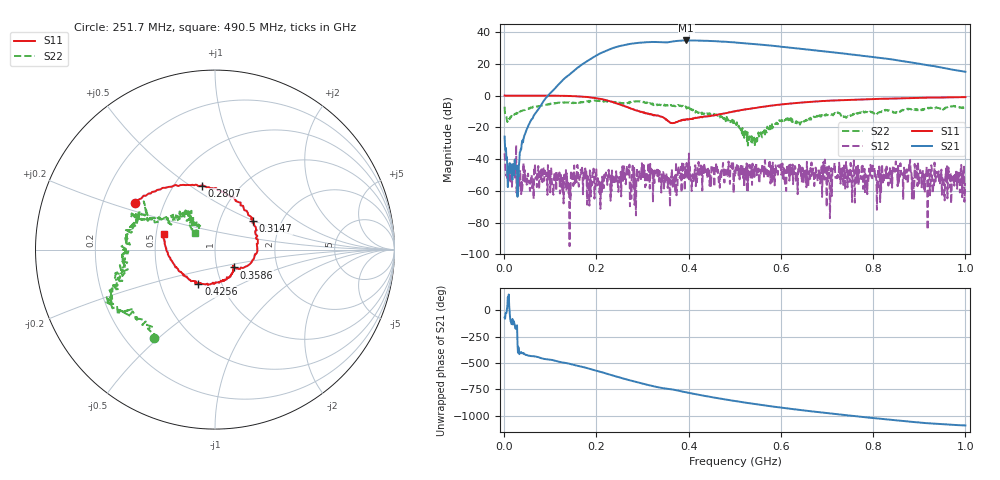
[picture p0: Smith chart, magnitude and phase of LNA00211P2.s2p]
! Created with skrf 1.9.0 (http://scikit-rf.org).
# Hz S RI R 50.0
!freq ReS11 ImS11 ReS21 ImS21 ReS12 ImS12 ReS22 ImS22
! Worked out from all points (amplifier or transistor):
!   1001 points, 1 MHz to 1 GHz, reference 50 ohm
!   highest |S21| = 34.7 dB at 394.6 MHz (marker M1)
!   |S21| within 3 dB of that: 258.9 MHz to 568.8 MHz (309.9 MHz wide, 74.9 % of centre)
!   unconditionally stable (mu >= 1): 3.567 MHz to 97.75 MHz; 300.9 MHz to 400.3 MHz; 400.9 MHz to end of sweep (the widest 3 of 24)
!   at 166.8 MHz: K = 0.66, MSG = 33.0 dB, |S12| = -46.9 dB
!   at 500.5 MHz: K = 3.44, MAG = 34.1 dB, |S12| = -51.2 dB
!   at 1 GHz: K = 9.24, MAG = 22.8 dB, |S12| = -55.9 dB
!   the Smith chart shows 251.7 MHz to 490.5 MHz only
!   S11 on the Smith chart (normalised r, x): 251.7 MHz: 0.34, +0.24; 280.7 MHz: 0.68, +0.56; 314.7 MHz: 1.44, +0.49; 358.6 MHz: 1.21, -0.25; 425.6 MHz: 0.78, -0.31; 490.5 MHz: 0.55, +0.10
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1000000  1.002 0.0181  0.0173 -0.0479  -0.0112 0.0101  0.317 0.3122
1.08892e8  0.5121 -0.8484  -0.7504 -1.428  0.000603 -0.00358  0.4323 -0.3529
1.67833e8  -0.2462 -0.8943  -9.317 -0.6763  0.00251 -0.00238  0.051 -0.6252
2.12788e8  -0.6946 -0.3242  -14.8 17.38  -0.00254 -0.00118  -0.1818 -0.6414
2.31769e8  -0.6516 0.00178  -7.957 28.68  -0.00285 0.000939  -0.2611 -0.5716
2.51749e8  -0.4454 0.2606  6.049 36.06  -0.00116 -0.00136  -0.3385 -0.4943
2.8072e8  -0.0734 0.3565  30.9 31.63  -0.000868 0.000936  -0.5551 -0.3206
3.14686e8  0.2118 0.1595  47.97 6.519  -0.00114 0.00485  -0.528 -0.1556
3.34666e8  0.2311 -0.0211  47.63 -9.657  0.00119 0.00295  -0.5018 -0.0578
3.58642e8  0.1071 -0.0994  42.93 -22.75  -0.00041 0.00115  -0.4685 0.094
3.74626e8  0.1022 -0.1049  39.93 -34.16  0.000398 0.00107  -0.4314 0.1671
3.94606e8  0.0562 -0.1681  28.27 -46.7  0.00146 0.00243  -0.4051 0.1664
4.25575e8  -0.0928 -0.1914  4.426 -53.45  -1.23e-05 0.00442  -0.1958 0.1725
4.55545e8  -0.2202 -0.0994  -16.62 -49.12  0.00108 0.000807  -0.149 0.1874
4.9051e8  -0.2855 0.0871  -33.58 -34.58  0.004 -0.00375  -0.1111 0.0939
5.005e8  -0.2851 0.1377  -36.96 -29.84  -0.00241 -0.00136  -0.0976 0.117
5.4046e8  -0.2042 0.3434  -41.19 -8.981  0.00398 -0.00254  -0.0287 0.0376
5.88412e8  0.00833 0.5032  -34.59 10.79  0.00369 -0.00518  -0.1001 -0.0812
6.67333e8  0.3912 0.5057  -13.67 23.39  -0.000113 -0.00291  -0.1922 -0.0572
7.53247e8  0.6773 0.2911  3.748 19.35  -0.00019 -0.0032  -0.2372 -0.00468
8.34166e8  0.8017 0.0288  10.46 9.623  -0.00318 5.19e-05  -0.3428 -0.0393
1e9  0.7326 -0.5138  5.504 -1.242  -0.001 -0.00125  -0.3434 0.2354
